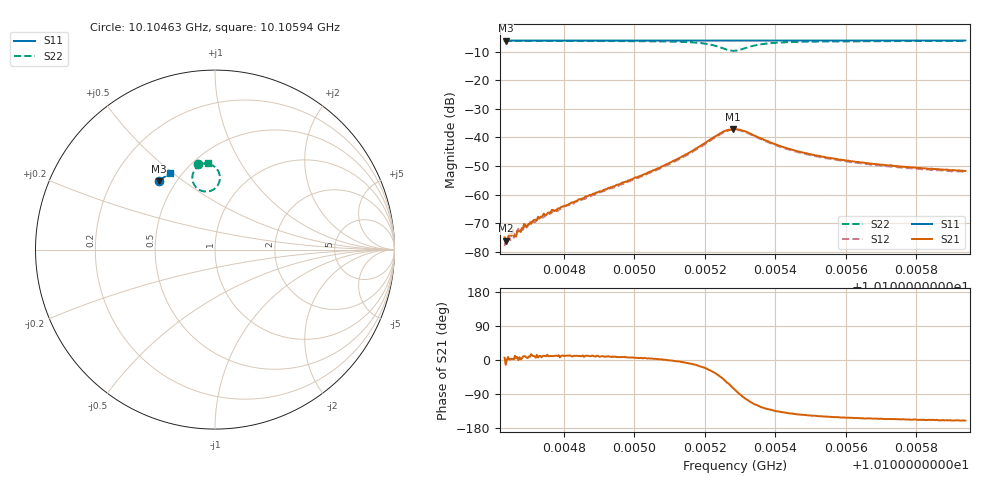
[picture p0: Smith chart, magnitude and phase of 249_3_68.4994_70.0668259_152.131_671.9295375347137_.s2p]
#  HZ  S  RI  R  50.00
! Rohde & Schwarz Vector Network Analyzer
! Rohde-Schwarz,ZNB20-2Port,1311601062101988,3.16
! Created: UTC 3/20/2024, 5:14:54 PM
! freq[Hz]  re:S11  im:S11  re:S21  im:S21  re:S12  im:S12  re:S22  im:S22
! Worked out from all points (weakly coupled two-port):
!   401 points, 10.10463 GHz to 10.10594 GHz, reference 50 ohm
!   highest |S21| = -37.06 dB at 10.10528 GHz (marker M1); lowest = -76.1 dB at 10.10464 GHz (marker M2)
!   lowest |S11| = -6.2 dB at 10.10464 GHz (marker M3), VSWR 2.94, Z = 20.3 + j20.5 ohm
!   |S11| at or under -10 dB: nowhere
!   |S22| runs from -9.7 to -6.3 dB; largest |S21 - S12| = 0.0018
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1.0104632e10  -0.3116 0.3813  0.000178 1.85e-05  0.000124 1.95e-05  -0.0925 0.4758
1.0104635e10  -0.3113 0.3815  0.000153 -3.43e-05  0.000159 -1.16e-05  -0.0922 0.4758
1.0104648e10  -0.3107 0.3821  0.000203 4.23e-06  0.000155 3.52e-05  -0.091 0.4759
1.0104665e10  -0.3098 0.3828  0.000183 1.59e-05  0.000211 4.94e-05  -0.0897 0.4764
1.0104684e10  -0.309 0.3837  0.000258 4.21e-05  0.000237 4.64e-05  -0.088 0.4766
1.0104707e10  -0.3079 0.3844  0.000297 8.1e-05  0.000344 9.83e-05  -0.0859 0.4771
1.0104724e10  -0.3071 0.3852  0.000347 8.31e-05  0.000343 0.000119  -0.0844 0.4773
1.0104763e10  -0.3053 0.3868  0.000473 8.49e-05  0.000457 0.000113  -0.0805 0.4779
1.0104851e10  -0.3013 0.3902  0.000841 0.000152  0.000781 0.000207  -0.071 0.4791
1.010507e10  -0.2907 0.3988  0.0029 9.46e-05  0.00277 0.000363  -0.0338 0.4768
1.0105139e10  -0.2873 0.4014  0.00474 -0.00048  0.00451 -4.79e-05  -0.0112 0.4676
1.0105194e10  -0.2844 0.4032  0.00714 -0.00245  0.00699 -0.00167  0.0154 0.4416
1.010525e10  -0.2815 0.4048  0.00828 -0.00922  0.00884 -0.00797  0.0188 0.3647
1.0105279e10  -0.2805 0.4054  0.00403 -0.0134  0.00529 -0.0126  -0.0339 0.3247
1.0105286e10  -0.2803 0.4055  0.00266 -0.0138  0.00396 -0.0131  -0.0499 0.3232
1.0105315e10  -0.2793 0.4068  -0.00258 -0.0125  -0.00141 -0.0122  -0.107 0.3491
1.0105345e10  -0.278 0.408  -0.00496 -0.00936  -0.00396 -0.00949  -0.1256 0.3894
1.010542e10  -0.2743 0.411  -0.0051 -0.00464  -0.00454 -0.00486  -0.1126 0.4441
1.0105505e10  -0.2701 0.4142  -0.00418 -0.00271  -0.0038 -0.00298  -0.0927 0.4642
1.0105623e10  -0.2643 0.4183  -0.00337 -0.0017  -0.00308 -0.00195  -0.0738 0.4745
1.0105724e10  -0.2592 0.4218  -0.00295 -0.00133  -0.0027 -0.00154  -0.0617 0.4789
1.010594e10  -0.2482 0.4289  -0.00244 -0.000895  -0.00226 -0.00106  -0.0414 0.4838
